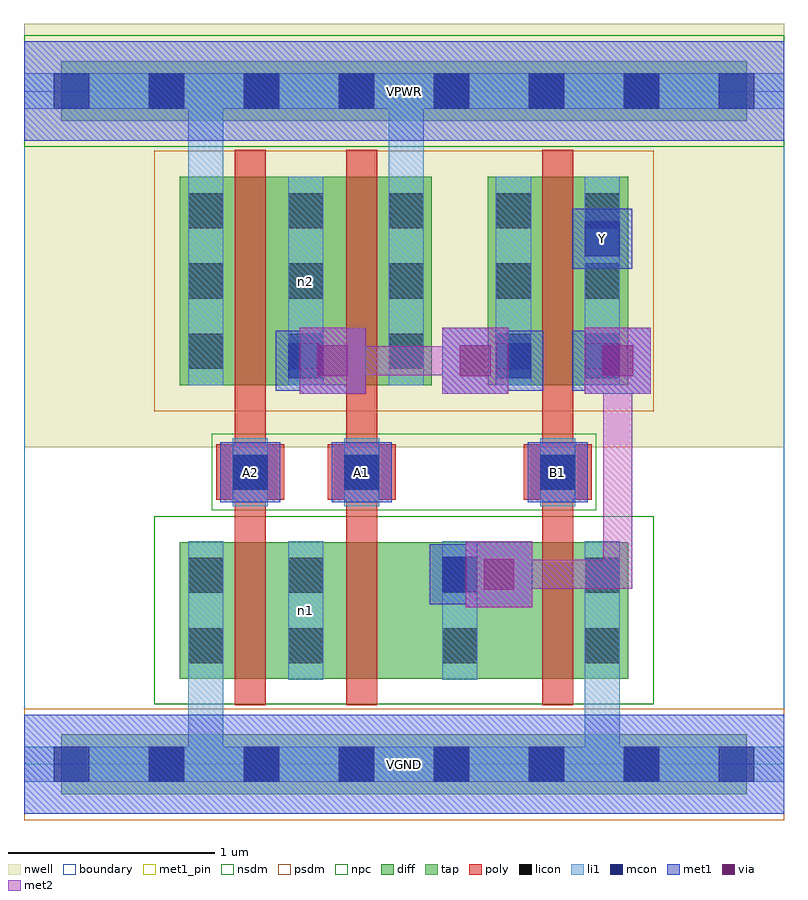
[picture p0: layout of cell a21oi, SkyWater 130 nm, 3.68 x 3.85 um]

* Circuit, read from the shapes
.subckt a21oi A1 A2 B1 VGND VPWR Y n1 n2
XM1 n1 A2 VGND VGND sky130_fd_pr__nfet_01v8 w=0.66 l=0.15
XM2 Y A1 n1 VGND sky130_fd_pr__nfet_01v8 w=0.66 l=0.15
XM3 VGND B1 Y VGND sky130_fd_pr__nfet_01v8 w=0.66 l=0.15
XM4 n2 A2 VPWR VPWR sky130_fd_pr__pfet_01v8 w=1.01 l=0.15
XM5 VPWR A1 n2 VPWR sky130_fd_pr__pfet_01v8 w=1.01 l=0.15
XM6 Y B1 n2 VPWR sky130_fd_pr__pfet_01v8 w=1.01 l=0.15
.ends

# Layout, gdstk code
import gdstk
lib = gdstk.Library(unit=1e-6, precision=1e-09)
def R(c, l, rs):  # rectangles x0, y0, x1, y1
    for r in rs: c.add(gdstk.rectangle(r[:2], r[2:], *l))
def A(c, l, x, y, w, h, nx, ny, dx, dy):  # array of equal rectangles
    R(c, l, [(x+i*dx, y+j*dy, x+i*dx+w, y+j*dy+h) for i in range(nx) for j in range(ny)])
nwell = (64, 20)
diff = (65, 20)
tap = (65, 44)
poly = (66, 20)
licon = (66, 44)
li1 = (67, 20)
mcon = (67, 44)
met1_pin = (68, 16)
met1 = (68, 20)
via = (68, 44)
met2 = (69, 20)
nsdm = (93, 44)
psdm = (94, 20)
npc = (95, 20)
boundary = (235, 4)

a21oi = lib.new_cell('a21oi')
R(a21oi, nwell, [(0,1.535,3.68,3.585)])
R(a21oi, diff, [(0.755,0.415,2.925,1.075), (0.755,1.835,1.975,2.845), (2.245,1.835,2.925,2.845)])
R(a21oi, tap, [(0.18,-0.145,3.5,0.145), (0.18,3.115,3.5,3.405)])
R(a21oi, poly, [(1.02,0.285,1.17,2.975), (1.56,0.285,1.71,2.975), (2.51,0.285,2.66,2.975), (0.93,1.28,1.26,1.55), (1.47,1.28,1.8,1.55), (2.42,1.28,2.75,1.55)])
A(a21oi, licon, 0.605, -0.085, 0.17, 0.17, 6, 2, 0.46, 3.26)
A(a21oi, licon, 0.795, 1.915, 0.17, 0.17, 3, 3, 0.485, 0.34)
A(a21oi, licon, 2.285, 1.915, 0.17, 0.17, 1, 3, 0, 0.34)
A(a21oi, licon, 2.715, 1.915, 0.17, 0.17, 1, 3, 0, 0.34)
R(a21oi, licon, [(0.795,0.49,0.965,0.66), (1.28,0.49,1.45,0.66), (2.025,0.49,2.195,0.66), (2.715,0.49,2.885,0.66), (0.795,0.83,0.965,1), (1.28,0.83,1.45,1), (2.025,0.83,2.195,1), (2.715,0.83,2.885,1), (1.01,1.33,1.18,1.5), (1.55,1.33,1.72,1.5), (2.5,1.33,2.67,1.5)])
A(a21oi, li1, 0.795, 1.835, 0.17, 1.01, 3, 1, 0.485, 0)
R(a21oi, li1, [(0,-0.085,3.68,0.085), (0.795,-0.085,0.965,1.08), (2.715,-0.085,2.885,1.08), (0.795,0.41,0.965,1.08), (1.28,0.41,1.45,1.08), (2.025,0.41,2.195,1.08), (2.715,0.41,2.885,1.08), (1.01,1.25,1.18,1.58), (1.55,1.25,1.72,1.58), (2.5,1.25,2.67,1.58), (0.795,1.835,0.965,3.345), (1.765,1.835,1.935,3.345), (2.285,1.835,2.455,2.845), (2.715,1.835,2.885,2.845), (0,3.175,3.68,3.345)])
A(a21oi, mcon, 0.145, -0.085, 0.17, 0.17, 8, 2, 0.46, 3.26)
R(a21oi, mcon, [(2.025,0.835,2.195,1.005), (1.01,1.33,1.18,1.5), (1.55,1.33,1.72,1.5), (2.5,1.33,2.67,1.5), (1.28,1.87,1.45,2.04), (2.285,1.87,2.455,2.04), (2.715,1.87,2.885,2.04), (2.715,2.46,2.885,2.63)])
R(a21oi, met1_pin, [(0,-0.24,3.68,0.24), (0.95,1.27,1.24,1.56), (1.49,1.27,1.78,1.56), (2.44,1.27,2.73,1.56), (2.655,2.4,2.945,2.69), (0,3.02,3.68,3.5)])
A(a21oi, met1, 1.335, 1.795, 0.32, 0.32, 3, 1, 0.69, 0)
R(a21oi, met1, [(0,-0.24,3.68,0.24), (2.14,0.76,2.46,1.08), (1.965,0.775,2.255,1.065), (2.04,0.85,2.37,0.99), (0.95,1.27,1.24,1.56), (1.49,1.27,1.78,1.56), (2.44,1.27,2.73,1.56), (1.22,1.81,1.51,2.1), (2.225,1.81,2.515,2.1), (2.655,1.81,2.945,2.1), (1.295,1.885,1.565,2.025), (2.115,1.885,2.44,2.025), (2.73,1.885,2.945,2.025), (2.655,2.4,2.945,2.69), (0,3.02,3.68,3.5)])
A(a21oi, via, 1.42, 1.88, 0.15, 0.15, 3, 1, 0.69, 0)
R(a21oi, via, [(2.225,0.845,2.375,0.995)])
A(a21oi, met2, 1.335, 1.795, 0.32, 0.32, 3, 1, 0.69, 0)
R(a21oi, met2, [(2.14,0.76,2.46,1.08), (2.23,0.85,2.945,0.99), (2.805,0.85,2.945,2.025), (1.425,1.885,2.255,2.025)])
R(a21oi, nsdm, [(0.63,0.29,3.05,1.2), (0,2.99,3.68,3.53)])
R(a21oi, psdm, [(0,-0.27,3.68,0.27), (0.63,1.71,3.05,2.97)])
R(a21oi, npc, [(0.91,1.23,2.77,1.6)])
R(a21oi, boundary, [(0,0,3.68,3.26)])
a21oi.add(gdstk.Label('n1', (1.365,0.745), layer=67, texttype=5))
a21oi.add(gdstk.Label('n2', (1.365,2.34), layer=67, texttype=5))
a21oi.add(gdstk.Label('A1', (1.635,1.415), layer=68, texttype=5))
a21oi.add(gdstk.Label('A2', (1.095,1.415), layer=68, texttype=5))
a21oi.add(gdstk.Label('B1', (2.585,1.415), layer=68, texttype=5))
a21oi.add(gdstk.Label('Y', (2.8,2.545), layer=68, texttype=5))
a21oi.add(gdstk.Label('VPWR', (1.84,3.26), layer=68, texttype=5))
a21oi.add(gdstk.Label('VGND', (1.84,0), layer=68, texttype=5))
a21oi.add(gdstk.Label('A1', (1.635,1.415), layer=68, texttype=16))
a21oi.add(gdstk.Label('A2', (1.095,1.415), layer=68, texttype=16))
a21oi.add(gdstk.Label('B1', (2.585,1.415), layer=68, texttype=16))
a21oi.add(gdstk.Label('Y', (2.8,2.545), layer=68, texttype=16))
a21oi.add(gdstk.Label('VPWR', (1.84,3.26), layer=68, texttype=16))
a21oi.add(gdstk.Label('VGND', (1.84,0), layer=68, texttype=16))

lib.write_gds('a21oi.gds')
